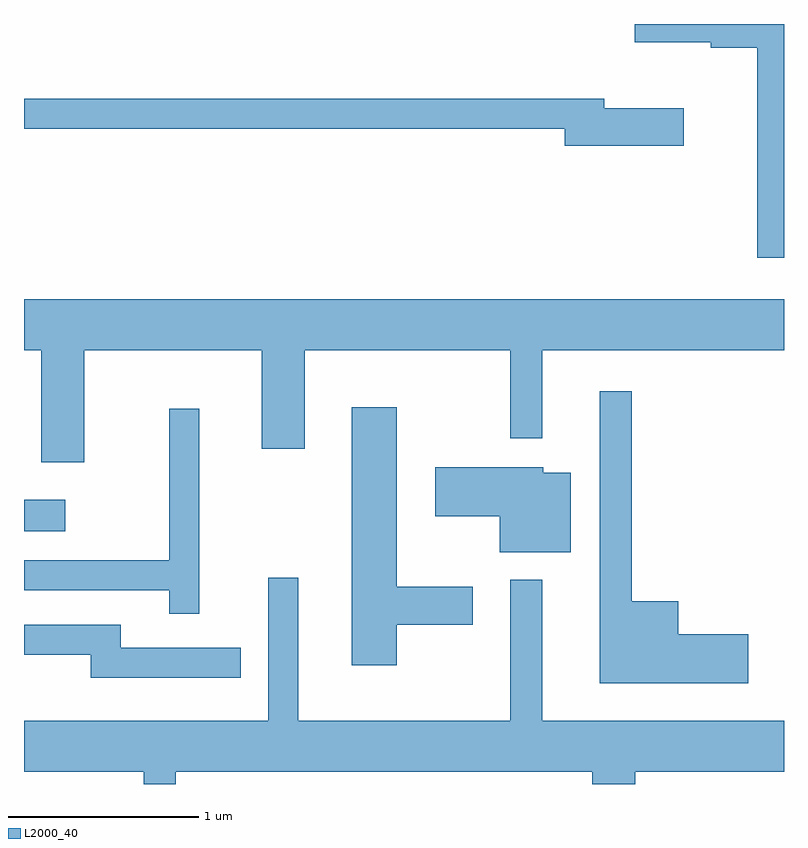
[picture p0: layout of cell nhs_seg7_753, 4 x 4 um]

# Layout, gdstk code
import gdstk
lib = gdstk.Library(unit=1e-6, precision=1e-09)
def R(c, l, rs):  # rectangles x0, y0, x1, y1
    for r in rs: c.add(gdstk.rectangle(r[:2], r[2:], *l))
def P(c, l, *ps):  # polygons
    for p in ps: c.add(gdstk.Polygon(p, *l))
L2000_40 = (2000, 40)

nhs_seg7_753 = lib.new_cell('nhs_seg7_753')
R(nhs_seg7_753, L2000_40, [(207.611,1715.581,207.828,1715.749)])
P(nhs_seg7_753, L2000_40, [(211.611,1718.252),(210.826,1718.252),(210.826,1718.156),(211.226,1718.156),(211.226,1718.126),(211.471,1718.126),(211.471,1717.023),(211.611,1717.023)],
  [(211.084,1717.809),(210.664,1717.809),(210.664,1717.859),(207.611,1717.859),(207.611,1717.701),(210.456,1717.701),(210.456,1717.611),(211.084,1717.611)],
  [(207.929,1716.536),(208.861,1716.536),(208.861,1716.016),(209.089,1716.016),(209.089,1716.536),(210.171,1716.536),(210.171,1716.073),(210.339,1716.073),(210.339,1716.536),(211.611,1716.536),(211.611,1716.804),(207.611,1716.804),(207.611,1716.536),(207.701,1716.536),(207.701,1715.946),(207.929,1715.946)],
  [(211.424,1715.039),(211.054,1715.039),(211.054,1715.214),(210.809,1715.214),(210.809,1716.318),(210.641,1716.318),(210.641,1714.781),(211.424,1714.781)],
  [(209.574,1715.091),(209.974,1715.091),(209.974,1715.289),(209.574,1715.289),(209.574,1716.234),(209.336,1716.234),(209.336,1714.876),(209.574,1714.876)],
  [(208.534,1716.228),(208.376,1716.228),(208.376,1715.429),(207.611,1715.429),(207.611,1715.271),(208.376,1715.271),(208.376,1715.148),(208.534,1715.148)],
  [(210.489,1715.889),(210.344,1715.889),(210.344,1715.919),(209.776,1715.919),(209.776,1715.661),(210.116,1715.661),(210.116,1715.471),(210.489,1715.471)],
  [(208.409,1714.316),(210.601,1714.316),(210.601,1714.252),(210.829,1714.252),(210.829,1714.316),(211.611,1714.316),(211.611,1714.584),(210.339,1714.584),(210.339,1715.328),(210.171,1715.328),(210.171,1714.584),(209.054,1714.584),(209.054,1715.338),(208.896,1715.338),(208.896,1714.584),(207.611,1714.584),(207.611,1714.316),(208.241,1714.316),(208.241,1714.252),(208.409,1714.252)],
  [(208.753,1714.969),(208.119,1714.969),(208.119,1715.089),(207.611,1715.089),(207.611,1714.931),(207.961,1714.931),(207.961,1714.811),(208.753,1714.811)])

lib.write_gds('nhs_seg7_753.gds')
